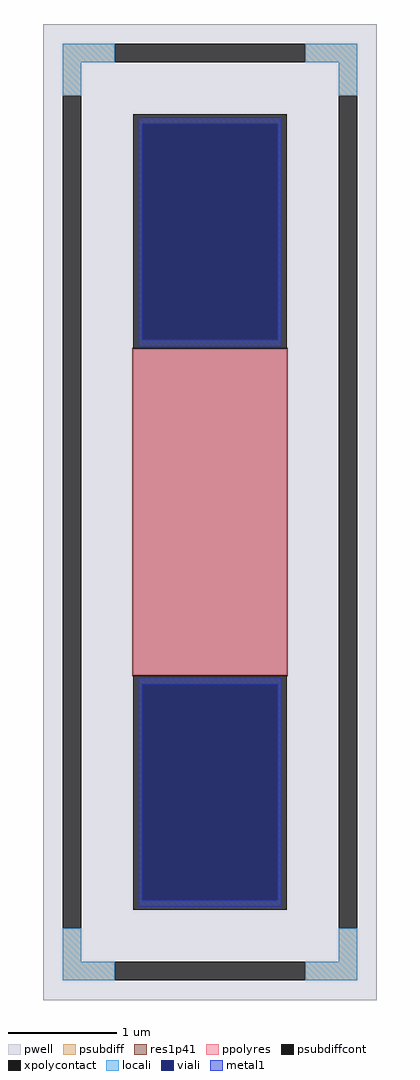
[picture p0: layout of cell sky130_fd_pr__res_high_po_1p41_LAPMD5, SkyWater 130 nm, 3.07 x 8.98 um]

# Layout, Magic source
magic
tech sky130A
magscale 1 2
<< pwell >>
rect -307 -898 307 898
<< psubdiff >>
rect -271 828 -175 862
rect 175 828 271 862
rect -271 766 -237 828
rect 237 766 271 828
rect -271 -828 -237 -766
rect 237 -828 271 -766
rect -271 -862 -175 -828
rect 175 -862 271 -828
<< psubdiffcont >>
rect -175 828 175 862
rect -271 -766 -237 766
rect 237 -766 271 766
rect -175 -862 175 -828
<< xpolycontact >>
rect -141 300 141 732
rect -141 -732 141 -300
<< ppolyres >>
rect -141 -300 141 300
<< locali >>
rect -271 828 -175 862
rect 175 828 271 862
rect -271 766 -237 828
rect 237 766 271 828
rect -271 -828 -237 -766
rect 237 -828 271 -766
rect -271 -862 -175 -828
rect 175 -862 271 -828
<< viali >>
rect -125 317 125 714
rect -125 -714 125 -317
<< metal1 >>
rect -131 714 131 726
rect -131 317 -125 714
rect 125 317 131 714
rect -131 305 131 317
rect -131 -317 131 -305
rect -131 -714 -125 -317
rect 125 -714 131 -317
rect -131 -726 131 -714
<< res1p41 >>
rect -143 -302 143 302
<< properties >>
string FIXED_BBOX -254 -845 254 845
string gencell sky130_fd_pr__res_high_po_1p41
string library sky130
string parameters w 1.410 l 3 m 1 nx 1 wmin 1.410 lmin 0.50 rho 319.8 val 956.765 dummy 0 dw 0.0 term 194.82 sterm 0.0 caplen 0 guard 1 glc 1 grc 1 gtc 1 gbc 1 compatible {sky130_fd_pr__res_high_po_0p35  sky130_fd_pr__res_high_po_0p69 sky130_fd_pr__res_high_po_1p41  sky130_fd_pr__res_high_po_2p85 sky130_fd_pr__res_high_po_5p73} snake 0 full_metal 1 wmax 1.410 n_guard 0 hv_guard 0 vias 1 viagb 0 viagt 0 viagl 0 viagr 0
<< end >>
